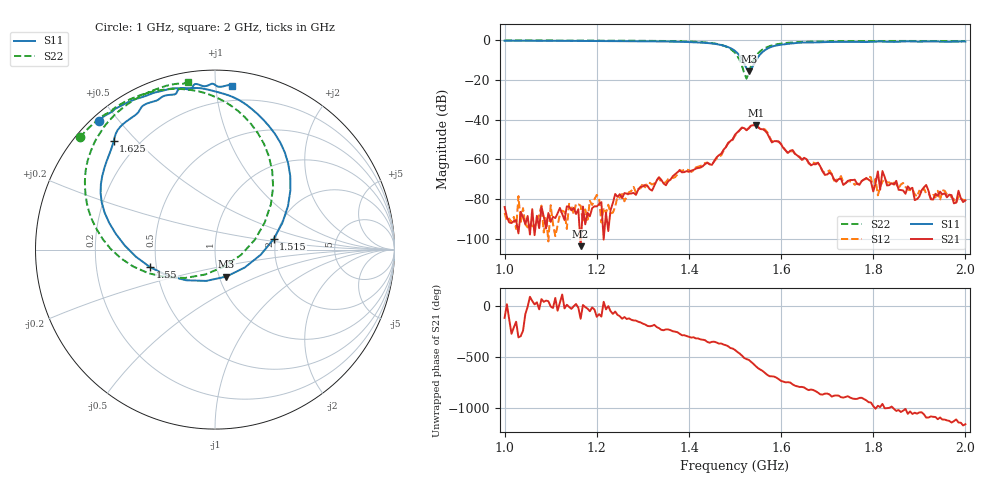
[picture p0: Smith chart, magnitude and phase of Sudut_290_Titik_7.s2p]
# Hz S RI R 50
! CMT, C1220, 16058040, 17.2.0/1
! Date: 14/08/2018 12:16:28
! Data: Format (Calibration Info)
! Freq  S11: Re/Im (F2)  S21: Re/Im (F2)  S12: Re/Im (F2)  S22: Re/Im (F2)
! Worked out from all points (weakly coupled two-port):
!   201 points, 1 GHz to 2 GHz, reference 50 ohm
!   highest |S21| = -42.74 dB at 1.545 GHz (marker M1); lowest = -103.7 dB at 1.165 GHz (marker M2)
!   lowest |S11| = -15.8 dB at 1.53 GHz (marker M3), VSWR 1.39, Z = 54.1 - j16.7 ohm
!   |S11| at or under -10 dB: 1.516 GHz to 1.546 GHz (30.08 MHz wide, 1.96 % of centre)
!   |S22| runs from -19.4 to -0.2 dB; largest |S21 - S12| = 0.00041
!   S11 on the Smith chart (normalised r, x): 1 GHz: 0.02, +0.44; 1.515 GHz: 1.95, +0.25; 1.55 GHz: 0.46, -0.11; 1.625 GHz: 0.11, +0.43; 2 GHz: 0.09, +1.11
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1e9  -0.6484 0.7144  -2.9e-05 -5.65e-05  -2.46e-05 3.81e-05  -0.7535 0.6249
1.165e9  -0.487 0.8201  -3.88e-06 -5.3e-06  6.74e-05 1.16e-05  -0.6221 0.7473
1.17e9  -0.4801 0.8231  6.46e-05 9.13e-06  2.27e-05 -1.34e-05  -0.6167 0.7506
1.26e9  -0.3468 0.8716  -4.74e-05 -0.000134  -5.66e-06 -8.79e-05  -0.5227 0.8123
1.335e9  -0.222 0.8984  -0.000283 0.000218  -0.000265 0.000223  -0.4005 0.8655
1.45e9  0.1794 0.8036  0.000719 0.000107  0.000729 8.86e-06  0.0249 0.8394
1.5e9  0.4201 0.3307  0.00137 -0.00394  0.00128 -0.00373  0.3239 0.3485
1.515e9  0.326 0.0576  -0.00364 -0.00509  -0.00345 -0.00523  0.2225 0.0556
1.53e9  0.0632 -0.1503  -0.00591 -0.00131  -0.006 -0.00137  -0.0559 -0.1392
1.545e9  -0.267 -0.144  -0.00483 0.00547  -0.0049 0.00531  -0.37 -0.132
1.55e9  -0.3615 -0.0981  -0.00234 0.00601  -0.00262 0.0059  -0.4548 -0.0946
1.625e9  -0.5642 0.6052  0.00118 -0.00125  0.00116 -0.00117  -0.7021 0.5192
1.67e9  -0.4464 0.7477  -0.000159 -0.000744  -0.00016 -0.000812  -0.6263 0.6719
1.715e9  -0.3643 0.8187  -0.000286 -0.000123  -0.00029 -4.67e-05  -0.5514 0.7577
1.795e9  -0.212 0.8781  -0.000201 0.000192  -0.000211 0.000285  -0.4312 0.8453
1.8e9  -0.2085 0.8854  -3.02e-05 0.000153  -0.000123 0.000122  -0.4241 0.8495
1.805e9  -0.2032 0.8916  6.19e-05 0.000238  -0.000137 0.000296  -0.4173 0.8536
1.81e9  -0.1964 0.8959  -0.000123 0.000484  5.61e-05 0.000111  -0.4102 0.8575
1.815e9  -0.1875 0.8978  -5.12e-06 0.000173  -8.68e-05 0.000183  -0.4032 0.8612
1.82e9  -0.1775 0.8975  -0.000274 0.000429  -0.000164 0.00022  -0.3964 0.8641
1.835e9  -0.1442 0.8907  2.37e-05 0.000225  1.36e-05 0.000264  -0.3765 0.8739
2e9  0.0956 0.9141  2.32e-05 -9.01e-05  -1.29e-05 -9.34e-05  -0.1528 0.933
